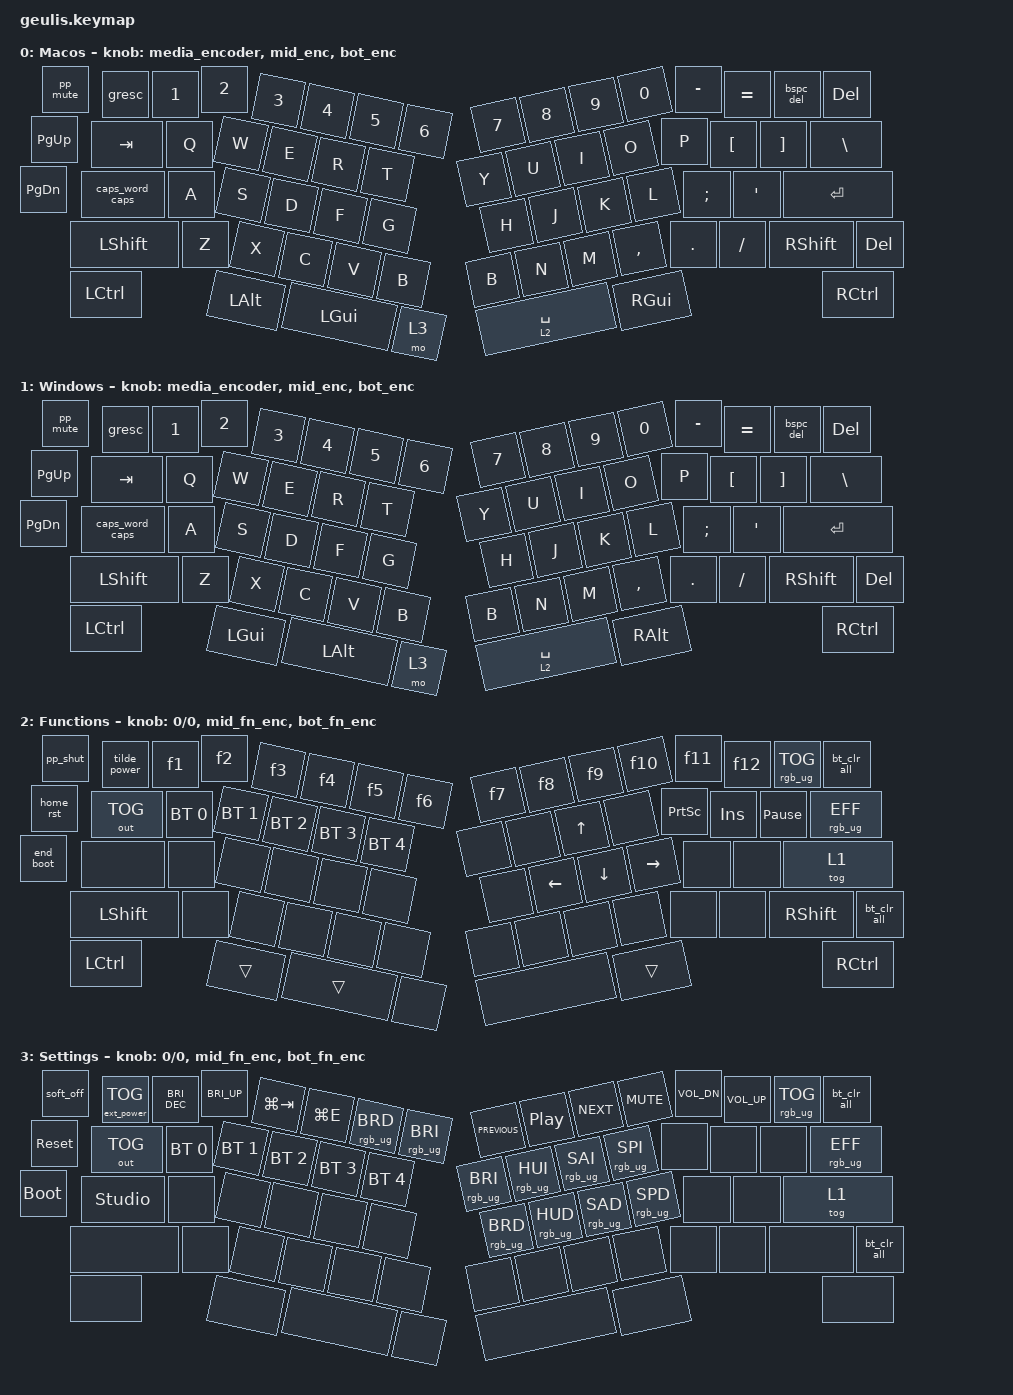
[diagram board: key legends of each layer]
/*
 * Copyright (c) 2024 Ujang Karnadi
 *
 * SPDX-License-Identifier: MIT
 */

#include <behaviors.dtsi>
#include <dt-bindings/zmk/bt.h>
#include <dt-bindings/zmk/ext_power.h>
#include <dt-bindings/zmk/keys.h>
#include <dt-bindings/zmk/outputs.h>
#include <dt-bindings/zmk/rgb.h>

#define MODS_COMBO (MOD_LSFT|MOD_LGUI|MOD_RSFT|MOD_RGUI)

#define MORPH(name, first, second) \
    name: name { \
        compatible = "zmk,behavior-mod-morph"; \
        bindings = <first>, <second>; \
        #binding-cells = <0>; \
        mods = <(MODS_COMBO)>; \
    };

#define ENCODER_VAR(name, prev_bind, next_bind) \
    name: name { \
        compatible = "zmk,behavior-sensor-rotate-var"; \
        #sensor-binding-cells = <2>; \
        bindings = <prev_bind>, <next_bind>; \
    };

#define ENCODER(name, prev_bind, next_bind) \
    name: name { \
        compatible = "zmk,behavior-sensor-rotate"; \
        #sensor-binding-cells = <0>; \
        bindings = <prev_bind>, <next_bind>; \
    };


&caps_word {
    continue-list = <UNDERSCORE MINUS>;
};



/ {

    
    behaviors {
        // Volume and RGB controls
        MORPH(vol_next, &kp C_VOL_UP, &kp C_NEXT)
        MORPH(vol_prev, &kp C_VOL_DN, &kp C_PREV)
        MORPH(bri_i_hue_i, &rgb_ug RGB_BRI, &rgb_ug RGB_HUI)
        MORPH(bri_d_hue_d, &rgb_ug RGB_BRD, &rgb_ug RGB_HUD)

        // Encoders
        ENCODER(media_encoder, &vol_prev, &vol_next)
        ENCODER_VAR(rgb_encoder, &bri_d_hue_d, &bri_i_hue_i)
        ENCODER(bt_encoder, &bt BT_PRV, &bt BT_NXT)
        // Mid encoder: vertical scroll (DOWN/UP arrow) by default, undo/redo on upper layers.
        // Each action is a MORPH (own phandle) so the ENCODER binding can use a
        // bare phandle reference instead of &kp <HID-arithmetic> (which the DTS
        // parser rejects when nested inside a sensor-rotate's bindings).
        MORPH(mid_enc_prev, &kp DOWN, &kp DOWN)
        MORPH(mid_enc_next, &kp UP, &kp UP)
        MORPH(mid_fn_enc_prev, &kp LC(Z), &kp LC(Y))
        MORPH(mid_fn_enc_next, &kp LC(Y), &kp LC(Z))
        ENCODER(mid_enc, &mid_enc_prev, &mid_enc_next)
        ENCODER(mid_fn_enc, &mid_fn_enc_prev, &mid_fn_enc_next)
        // Bot encoder: horizontal scroll (LEFT/RIGHT arrow) by default,
        // browser back/forward on upper layers.
        MORPH(bot_enc_prev, &kp LEFT, &kp LEFT)
        MORPH(bot_enc_next, &kp RIGHT, &kp RIGHT)
        MORPH(bot_fn_enc_prev, &kp C_AC_BACK, &kp C_AC_BACK)
        MORPH(bot_fn_enc_next, &kp C_AC_FORWARD, &kp C_AC_FORWARD)
        ENCODER(bot_enc, &bot_enc_prev, &bot_enc_next)
        ENCODER(bot_fn_enc, &bot_fn_enc_prev, &bot_fn_enc_next)

        // Media controls
        MORPH(bspc_del, &kp BACKSPACE, &kp DEL)
        MORPH(f12, &kp F12, &kp C_VOL_UP)
        MORPH(f11, &kp F11, &kp C_VOL_DN)
        MORPH(f10, &kp F10, &kp C_MUTE)
        MORPH(f9, &kp F9, &kp C_NEXT)
        MORPH(f8, &kp F8, &kp C_PP)
        MORPH(f7, &kp F7, &kp C_PREV)
        MORPH(f6, &kp F6, &rgb_ug RGB_BRI)
        MORPH(f5, &kp F5, &rgb_ug RGB_BRD)
        MORPH(f4, &kp F4, &kp LG(E))
        MORPH(f3, &kp F3, &kp LG(TAB))
        MORPH(f3_mac, &kp F3, &kp LC(UP_ARROW))
        MORPH(f2, &kp F2, &kp C_BRI_UP)
        MORPH(f1, &kp F1, &kp C_BRI_DN)
        MORPH(bt_rgb_tog, &out OUT_TOG, &rgb_ug RGB_TOG)
        MORPH(bt_rgb_next, &bt BT_NXT, &rgb_ug RGB_EFF)
        MORPH(bt_clr_all, &bt BT_CLR, &bt BT_CLR_ALL)
        MORPH(tilde_power, &kp TILDE, &ext_power EP_TOG)
        MORPH(pp_shut, &kp C_PP, &soft_off)
        MORPH(home_rst, &kp HOME, &sys_reset)
        MORPH(end_boot, &kp END, &bootloader)
        MORPH(pp_mute, &kp C_MUTE, &kp C_PP)
        // Caps Lock: morph — caps_word on plain tap, &kp CAPS when Shift/Cmd
        // is held. This is the original Geulis binding; user benefits from
        // caps-word ergonomics. (No LED indicator on v0.3 — the green LED is
        // reserved for Caps Lock on the main-branch only.)
        MORPH(caps_word_caps, &caps_word, &kp CAPS)
    };

    combos {
        compatible = "zmk,combos";

        COMBO_UNLOCK_STUDIO {
            bindings = <&studio_unlock>;
            key-positions = <14 32>;
            // layers = <2 3>;
        };

        COMBO_UNLOCK_STUDIO2 {
            bindings = <&studio_unlock>;
            key-positions = <24 32>;
            // layers = <2 3>;
        };

        COMBO_BOOTLOADER {
            bindings = <&bootloader>;
            key-positions = <50 32>;
            // layers = <2 3>;
        };

        COMBO_BOOTLOADER2 {
            bindings = <&bootloader>;
            key-positions = <51 32>;
            // layers = <2 3>;
        };

        COMBO_RESET {
            bindings = <&sys_reset>;
            key-positions = <21 32>;
            // layers = <2 3>;
        };

        COMBO_SHUTDOWN {
            bindings = <&soft_off>;
            key-positions = <34 32>;
            // layers = <2 3>;
        };

        COMBO_POWER {
            bindings = <&ext_power EP_TOG>;
            key-positions = <27 32>;
            // layers = <2 3>;
        };

        COMBO_INSERT {
            bindings = <&kp INSERT>;
            key-positions = <25 17>;
            // layers = <0 1>;
        };

        COMBO_PRNTSCR {
            bindings = <&kp PRINTSCREEN>;
            key-positions = <27 17>;
            // layers = <0 1>;
        };

        COMBO_PAUSE_BREAK {
            bindings = <&kp PAUSE_BREAK>;
            key-positions = <17 63>;
            // layers = <0 1>;
        };

        COMBO_POWER_ON {
            bindings = <&ext_power EP_ON>;
            key-positions = <2 32>;
            // layers = <2 3>;
        };

        COMBO_POWER_OFF {
            bindings = <&ext_power EP_OFF>;
            key-positions = <11 32>;
            // layers = <2 3>;
        };

        COMBO_WIN_SHUTDOWN {
            bindings = <&win_shutdown>;
            key-positions = <61 63 27>;
        };

        COMBO_WIN_SLEEP {
            bindings = <&win_sleep>;
            key-positions = <61 63 34>;
        };
    };

    macros {
        win_sleep: win_sleep {
            label = "WIN_SLEEP";
            compatible = "zmk,behavior-macro";
            wait-ms = <40>;
            tap-ms = <40>;
            #binding-cells = <0>;
            bindings =
                <&macro_press>,
                <&kp LGUI>,
                <&macro_tap>,
                <&kp R>,
                <&macro_release>,
                <&kp LGUI>,
                <&macro_tap>,
                <&kp R &kp U &kp N &kp D &kp L &kp L &kp N3 &kp N2>,
                <&macro_tap>,
                <&kp DOT &kp E &kp X &kp E>,
                <&macro_tap>,
                <&kp SPACE>,
                <&macro_tap>,
                <&kp P &kp O &kp W &kp R &kp P &kp R &kp O &kp F>,
                <&macro_tap>,
                <&kp DOT &kp D &kp L &kp L>,
                <&macro_tap>,
                <&kp COMMA>,
                <&macro_tap>,
                <&kp LS(S) &kp E &kp T >,
                <&macro_tap>,
                <&kp LS(S) &kp U &kp S &kp P &kp E &kp N &kp D>,
                <&macro_tap>,
                <&kp LS(S) &kp T &kp A &kp T &kp E>,
                <&macro_tap>,
                <&kp SPACE &kp N0 &kp COMMA &kp N1 &kp COMMA &kp N0>,
                <&macro_tap>,
                <&kp RET>;
        };

        win_shutdown: win_shutdown {
            label = "WIN_SHUTDOWN";
            compatible = "zmk,behavior-macro";
            wait-ms = <40>;
            tap-ms = <40>;
            #binding-cells = <0>;
            bindings =
                <&macro_press>,
                <&kp LGUI>,
                <&macro_tap>,
                <&kp R>,
                <&macro_release>,
                <&kp LGUI>,
                <&macro_tap>,
                <&kp S &kp H &kp U &kp T &kp D &kp O &kp W &kp N>,
                <&macro_tap>,
                <&kp SPACE>,
                <&macro_tap>,
                <&kp FSLH &kp S>,
                <&macro_tap>,
                <&kp SPACE>,
                <&macro_tap>,
                <&kp FSLH &kp T>,
                <&macro_tap>,
                <&kp SPACE>,
                <&macro_tap>,
                <&kp N0>,
                <&macro_tap>,
                <&kp RET>;
        };
    };

    keymap {
        compatible = "zmk,keymap";

/*
 * Macos:
 *     .-----.    .----------------------------------------.       .-----------------------------------------------.
 *     | Mute|   | Esc |  1  |  2  |  3  |  4  |  5  |  6  |       |  7  |  8  |  9  |  0  |  -  |  =  | Bsp | Del |
 *    .'-----'   +-----+-----+-----+-----+-----+-----+-----'     .-+-----+-----+-----+-----+-----+-----+-----+-----+.
 *    | PUp |   |  Tab   |  Q  |  W  |  E  |  R  |  T  |         |  Y  |  U  |  I  |  O  |  P  |  [  |  ]  |    \   |
 *   .------'   +--------+-----+-----+-----+-----+-----+.        '-----+-----+-----+-----+-----+-----+-----+---------+.
 *   | PDn |   |   Caps   |  A  |  S  |  D  |  F  |  G  |          |  H  |  J  |  K  |  L  |  ;  |  '  |    Enter     |
 *   '-----'   +----------+-----+-----+-----+-----+-----+.      .--+-----+-----+-----+-----+-----+-----+--------------+.
 *            |    Shift   |  Z  |  X  |  C  |  V  |  B  |      |  B  |   N  |  M  |  ,  |  .  |  /  |   Shift   | Del | 
 *            |------+-----+-----+-----+-----+-----+-----+-.    |-----+------+-----+-----+-----+-----+---------+------+'
 *            | Ctrl |          |  ALT  |     WIN    | Fn  |    |    Space     |  WIN  |                       | Ctrl |
 *            '------'          '--------------------------'    '----------------------'                       '------'
 */

        macos {
            display-name = "Macos";
            bindings = <
&pp_mute         &gresc             &kp N1  &kp N2  &kp N3    &kp N4    &kp N5  &kp N6      &kp N7       &kp N8    &kp N9  &kp N0     &kp MINUS  &kp EQUAL  &bspc_del  &kp DEL
&kp PAGE_UP      &kp TAB            &kp Q   &kp W   &kp E     &kp R     &kp T               &kp Y        &kp U     &kp I   &kp O      &kp P      &kp LBKT   &kp RBKT   &kp BACKSLASH
&kp PAGE_DOWN    &caps_word_caps    &kp A   &kp S   &kp D     &kp F     &kp G                            &kp H     &kp J   &kp K      &kp L      &kp SEMI   &kp SQT    &kp RET
                 &kp LSHFT          &kp Z   &kp X   &kp C     &kp V     &kp B               &kp B        &kp N     &kp M   &kp COMMA  &kp DOT    &kp FSLH   &kp RSHFT  &kp DEL
                 &kp LCTRL                          &kp LALT  &kp LGUI  &mo 3               &lt 2 SPACE  &kp RGUI                                                      &kp RCTRL
            >;

            sensor-bindings = <&media_encoder>, <&mid_enc>, <&bot_enc>;
        };

/*
 * Windows:
 *     .-----.    .----------------------------------------.       .-----------------------------------------------.
 *     | Mute|   | Esc |  1  |  2  |  3  |  4  |  5  |  6  |       |  7  |  8  |  9  |  0  |  -  |  =  | Bsp | Del |
 *    .'-----'   +-----+-----+-----+-----+-----+-----+-----'     .-+-----+-----+-----+-----+-----+-----+-----+-----+.
 *    | PUp |   |  Tab   |  Q  |  W  |  E  |  R  |  T  |         |  Y  |  U  |  I  |  O  |  P  |  [  |  ]  |    \   |
 *   .------'   +--------+-----+-----+-----+-----+-----+.        '-----+-----+-----+-----+-----+-----+-----+---------+.
 *   | PDn |   |   Caps   |  A  |  S  |  D  |  F  |  G  |          |  H  |  J  |  K  |  L  |  ;  |  '  |    Enter     |
 *   '-----'   +----------+-----+-----+-----+-----+-----+.      .--+-----+-----+-----+-----+-----+-----+--------------+.
 *            |    Shift   |  Z  |  X  |  C  |  V  |  B  |      |  B  |   N  |  M  |  ,  |  .  |  /  |   Shift   | Del | 
 *            |------+-----+-----+-----+-----+-----+-----+-.    |-----+------+-----+-----+-----+-----+---------+------+'
 *            | Ctrl |          |  WIN  |    ALT     | Fn  |    |    Space     |  Alt  |                       | Ctrl |
 *            '------'          '--------------------------'    '----------------------'                       '------'
 */

        windows {
            display-name = "Windows";
            bindings = <
&pp_mute         &gresc            &kp N1  &kp N2  &kp N3    &kp N4    &kp N5  &kp N6      &kp N7       &kp N8    &kp N9  &kp N0     &kp MINUS  &kp EQUAL  &bspc_del  &kp DEL
&kp PAGE_UP      &kp TAB           &kp Q   &kp W   &kp E     &kp R     &kp T               &kp Y        &kp U     &kp I   &kp O      &kp P      &kp LBKT   &kp RBKT   &kp BACKSLASH
&kp PAGE_DOWN    &caps_word_caps   &kp A   &kp S   &kp D     &kp F     &kp G                            &kp H     &kp J   &kp K      &kp L      &kp SEMI   &kp SQT    &kp RET
                 &kp LSHFT         &kp Z   &kp X   &kp C     &kp V     &kp B               &kp B        &kp N     &kp M   &kp COMMA  &kp DOT    &kp FSLH   &kp RSHFT  &kp DEL
                 &kp LCTRL                         &kp LGUI  &kp LALT  &mo 3               &lt 2 SPACE  &kp RALT                                                      &kp RCTRL
            >;

            sensor-bindings = <&media_encoder>, <&mid_enc>, <&bot_enc>;
        };
/*
 * Functions:
 *     .-----.    .----------------------------------------.       .-----------------------------------------------.
 *     | Play|   | ~   |  F1 |  F2 |  F3 |  F4 |  F5 |  F6 |       |  F7 | F8 | F9 | F10 | F11 | F12 |BT TOG|BT CLR|
 *    .'-----'   +-----+-----+-----+-----+-----+-----+-----'     .-+-----+-----+-----+-----+-----+-----+-----+-----+.
 *    | Home |   |BT NXT | BT0 | BT1 | BT2 | BT3 | BT4 |         | --- | --- |  ↑  | --- | --- | --- | --- |  ---   |
 *   .------'   +--------+-----+-----+-----+-----+-----+.        '-----+-----+-----+-----+-----+-----+-----+---------+.
 *   | End  |   |   ---    | --- | --- | --- | --- | --- |          | --- |  ←  |  ↓  |  →  | --- | --- |  WIN/MAC    |
 *   '-----'   +----------+-----+-----+-----+-----+-----+.      .--+-----+-----+-----+-----+-----+-----+--------------+.
 *            |    Shift   | --- | --- | --- | --- | --- |      | --- | --- | --- | --- | --- | --- |  Shift  |BT CLR  | 
 *            |------+-----+-----+-----+-----+-----+-----+-.    |-----+------+-----+-----+-----+-----+---------+------+'
 *            | Ctrl |          |  ---  |     ---    | --- |    |    ---      |  ---  |                       | Ctrl |
 *            '------'          '--------------------------'    '---------------------'                       '------'
 */

        functions {
            display-name = "Functions";
            bindings = <
&pp_shut     &tilde_power  &f1           &f2           &f3           &f4           &f5           &f6      &f7    &f8     &f9       &f10      &f11             &f12        &rgb_ug RGB_TOG  &bt_clr_all
&home_rst    &out OUT_TOG  &bt BT_SEL 0  &bt BT_SEL 1  &bt BT_SEL 2  &bt BT_SEL 3  &bt BT_SEL 4           &none  &none   &kp UP    &none     &kp PRINTSCREEN  &kp INSERT  &kp PAUSE_BREAK  &rgb_ug RGB_EFF
&end_boot    &none         &none         &none         &none         &none         &none                         &none   &kp LEFT  &kp DOWN  &kp RIGHT        &none       &none            &tog 1
             &kp LSHFT     &none         &none         &none         &none         &none                  &none  &none   &none     &none     &none            &none       &kp RSHFT        &bt_clr_all
             &kp LCTRL                                 &trans        &trans        &none                  &none  &trans                                                                    &kp RCTRL
            >;

            sensor-bindings = <&rgb_encoder 0 0>, <&mid_fn_enc>, <&bot_fn_enc>;
        };
/*
 * Settings:
 *     .-----.    .----------------------------------------.       .-----------------------------------------------.
 *     | Off |   | PWR |  ↓  |  ↑  | Tab |  E  | BR- | BR+ |       | PRV | PP | NXT | MUT | V- | V+ |RGB TOG| --- |
 *    .'-----'   +-----+-----+-----+-----+-----+-----+-----'     .-+-----+-----+-----+-----+-----+-----+-----+-----+.
 *    | RST |   |RGB EF | EFF | BRI | HUE | SAT | SPD |         | --- | --- | --- | --- | --- | --- | --- |  ---   |
 *   .------'   +--------+-----+-----+-----+-----+-----+.        '-----+-----+-----+-----+-----+-----+-----+---------+.
 *   | BOOT |   |   ---    | EFR | BRD | HUD | SAD | SPD |          | --- | --- | --- | --- | --- | --- |    ---      |
 *   '-----'   +----------+-----+-----+-----+-----+-----+.      .--+-----+-----+-----+-----+-----+-----+--------------+.
 *            |    ---     | --- | --- | --- | --- | --- |      | --- | --- | --- | --- | --- | --- |   ---    | ---   | 
 *            |------+-----+-----+-----+-----+-----+-----+-.    |-----+------+-----+-----+-----+-----+---------+------+'
 *            | ---  |         |  ---  |     ---    | ---  |    |    ---      |  ---   |                       | ---  |
 *            '------'          '--------------------------'    '----------------------'                       '------'
 */

        settings {
            display-name = "Settings";
            bindings = <
&soft_off      &ext_power EP_TOG  &kp C_BRI_DEC  &kp C_BRI_UP  &kp LG(TAB)   &kp LG(E)     &rgb_ug RGB_BRD  &rgb_ug RGB_BRI      &kp C_PREVIOUS   &kp C_PP         &kp C_NEXT       &kp C_MUTE       &kp C_VOL_DN     &kp C_VOL_UP  &rgb_ug RGB_TOG  &bt_clr_all
&sys_reset     &out OUT_TOG       &bt BT_SEL 0   &bt BT_SEL 1  &bt BT_SEL 2  &bt BT_SEL 3  &bt BT_SEL 4                          &rgb_ug RGB_BRI  &rgb_ug RGB_HUI  &rgb_ug RGB_SAI  &rgb_ug RGB_SPI  &none            &none         &none            &rgb_ug RGB_EFF
&bootloader    &studio_unlock     &none          &none         &none         &none         &none                                                  &rgb_ug RGB_BRD  &rgb_ug RGB_HUD  &rgb_ug RGB_SAD  &rgb_ug RGB_SPD  &none         &none            &tog 1
               &none              &none          &none         &none         &none         &none                                 &none            &none            &none            &none            &none            &none         &none            &bt_clr_all
               &none                                           &none         &none         &none                                 &none            &none                                                                                              &none
            >;

             sensor-bindings = <&rgb_encoder 0 0>, <&mid_fn_enc>, <&bot_fn_enc>;
        };

/*
 * Extra1:
 *     .-----.    .----------------------------------------.       .-----------------------------------------------.
 *     | --- |   | --- | --- | --- | --- | --- | --- | --- |       | --- | --- | --- | --- | --- | --- | --- | --- |
 *    .'-----'   +-----+-----+-----+-----+-----+-----+-----'     .-+-----+-----+-----+-----+-----+-----+-----+-----+.
 *    | --- |   |  ---   | --- | --- | --- | --- | --- |         | --- | --- | --- | --- | --- | --- | --- |  ---   |
 *   .------'   +--------+-----+-----+-----+-----+-----+.        '-----+-----+-----+-----+-----+-----+-----+---------+.
 *   | --- |   |   ---    | --- | --- | --- | --- | --- |          | --- | --- | --- | --- | --- | --- |    ---       |
 *   '-----'   +----------+-----+-----+-----+-----+-----+.      .--+-----+-----+-----+-----+-----+-----+--------------+.
 *            |    ---     | --- | --- | --- | --- | --- |      | --- | --- | --- | --- | --- | --- |   ---    | ---   | 
 *            |------+-----+-----+-----+-----+-----+-----+-.    |-----+------+-----+-----+-----+-----+---------+------+'
 *            | ---  |          |  ---  |     ---    | --- |    |    ---      |  ---   |                       | ---  |
 *            '------'          '--------------------------'    '----------------------'                       '------'
 */

        extra1 {
            status = "reserved";
            bindings = <
&trans    &trans  &trans  &trans  &trans  &trans  &trans  &trans      &trans  &trans  &trans  &trans  &trans  &trans  &trans  &trans
&trans    &trans  &trans  &trans  &trans  &trans  &trans              &trans  &trans  &trans  &trans  &trans  &trans  &trans  &trans
&trans    &trans  &trans  &trans  &trans  &trans  &trans                      &trans  &trans  &trans  &trans  &trans  &trans  &trans
          &trans  &trans  &trans  &trans  &trans  &trans              &trans  &trans  &trans  &trans  &trans  &trans  &trans  &trans
          &trans                  &trans  &trans  &trans              &trans  &trans                                          &trans
            >;
        };

/*
 * Extra2:
 *     .-----.    .----------------------------------------.       .-----------------------------------------------.
 *     | --- |   | --- | --- | --- | --- | --- | --- | --- |       | --- | --- | --- | --- | --- | --- | --- | --- |
 *    .'-----'   +-----+-----+-----+-----+-----+-----+-----'     .-+-----+-----+-----+-----+-----+-----+-----+-----+.
 *    | --- |   |  ---   | --- | --- | --- | --- | --- |         | --- | --- | --- | --- | --- | --- | --- |  ---   |
 *   .------'   +--------+-----+-----+-----+-----+-----+.        '-----+-----+-----+-----+-----+-----+-----+---------+.
 *   | --- |   |   ---    | --- | --- | --- | --- | --- |          | --- | --- | --- | --- | --- | --- |    ---       |
 *   '-----'   +----------+-----+-----+-----+-----+-----+.      .--+-----+-----+-----+-----+-----+-----+--------------+.
 *            |    ---     | --- | --- | --- | --- | --- |      | --- | --- | --- | --- | --- | --- |   ---    | ---   | 
 *            |------+-----+-----+-----+-----+-----+-----+-.    |-----+------+-----+-----+-----+-----+---------+------+'
 *            | ---  |          |  ---  |     ---    | --- |    |    ---      |  ---    |                      | ---  |
 *            '------'          '--------------------------'    '----------------------'                       '------'
 */

        extra2 {
            status = "reserved";
            bindings = <
&trans    &trans  &trans  &trans  &trans  &trans  &trans  &trans      &trans  &trans  &trans  &trans  &trans  &trans  &trans  &trans
&trans    &trans  &trans  &trans  &trans  &trans  &trans              &trans  &trans  &trans  &trans  &trans  &trans  &trans  &trans
&trans    &trans  &trans  &trans  &trans  &trans  &trans                      &trans  &trans  &trans  &trans  &trans  &trans  &trans
          &trans  &trans  &trans  &trans  &trans  &trans              &trans  &trans  &trans  &trans  &trans  &trans  &trans  &trans
          &trans                  &trans  &trans  &trans              &trans  &trans                                          &trans
            >;
        };
    };
};
